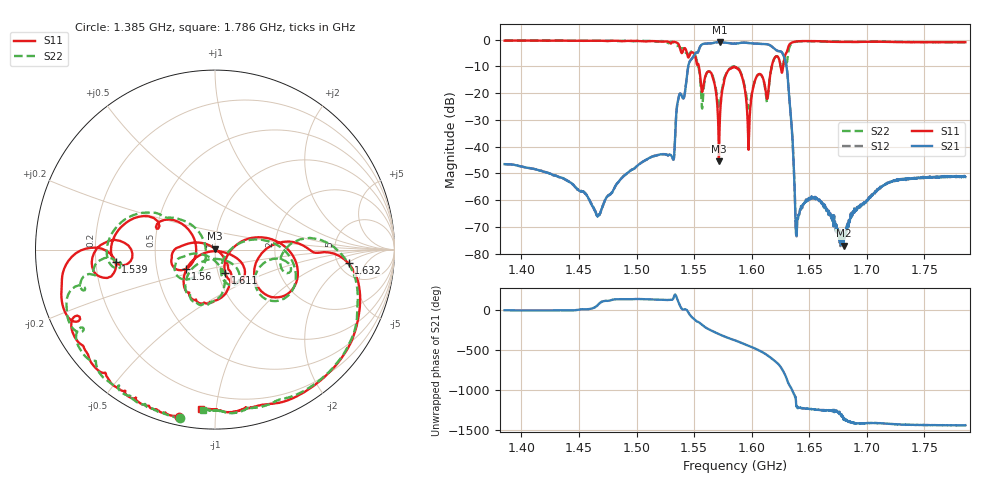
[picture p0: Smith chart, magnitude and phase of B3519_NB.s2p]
! Matrix data file written by TouchstoneData, EPCOS AG
! FILENAME: "newformat_B3519.NB.2.s2p"
! COMMENT: "(B3519.NB.2.s2p)"
! INFO: nport=2, nfreq=1601
! DATE: "Mon Sep  5 10:31:02 2011"
! USER: "Sergey Rostovtsev"
! port | pin | signal
!  1  |  2  |  in
!  2  |  5  |  out
# MHZ S MA R 50
! freq  magS11 angS11  magS21 angS21  magS12 angS12  magS22 angS22
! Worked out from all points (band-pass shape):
!   1601 points, 1.385 GHz to 1.786 GHz, reference 50 ohm
!   highest |S21| = -0.98 dB at 1.573 GHz (marker M1); lowest = -77.0 dB at 1.68 GHz (marker M2)
!   |S21| within 3 dB of the highest: 1.554 GHz to 1.621 GHz (67.28 MHz wide, 4.24 % of centre)
!   lowest |S11| = -45.5 dB at 1.571 GHz (marker M3), VSWR 1.01, Z = 50 + j0.528 ohm
!   |S11| at or under -10 dB: 1.554 GHz to 1.617 GHz (63.27 MHz wide, 3.99 % of centre); 1.625066 GHz to 1.627252 GHz (2.186 MHz wide, 0.134 % of centre)
!   |S22| runs from -25.8 to -0.3 dB; largest |S21 - S12| = 0.0015
!   S11 on the Smith chart (normalised r, x): 1.385 GHz: 0.04, -0.81; 1.539 GHz: 0.29, -0.06; 1.56 GHz: 0.70, -0.16; 1.611 GHz: 1.08, -0.29; 1.632 GHz: 6.18, -2.16; 1.786 GHz: 0.11, -0.91
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1385.5  0.9549 -102.0  0.004693 -6.0  0.004682 -6.3  0.9605 -101.6
1452.25  0.9458 -112.8  0.001455 6.9  0.001465 7.3  0.9519 -111.5
1467  0.9511 -116.3  0.0005163 69.7  0.000523 68.4  0.9507 -114.7
1519  0.917 -140.6  0.006985 128.1  0.00699 128.1  0.9223 -137.9
1531.25  0.8972 -154.5  0.006114 128.8  0.006079 129.0  0.9014 -155.9
1539.25  0.5576 -172.8  0.08852 13.2  0.08865 13.2  0.6862 -168.1
1550  0.5399 166.8  0.5062 -114.8  0.5063 -114.8  0.5668 167.9
1559.5  0.1964 -146.6  0.837 143.9  0.837 144.0  0.1869 -126.6
1571.5  0.00529 86.1  0.8927 57.6  0.8926 57.7  0.05173 -123.7
1572.5  0.03795 -33.8  0.8933 51.2  0.8932 51.2  0.06354 -89.7
1585.5  0.3028 -110.2  0.8438 -20.7  0.8439 -20.8  0.3108 -109.6
1597.25  0.008694 -87.5  0.861 -87.3  0.8614 -87.3  0.05205 -97.5
1604.25  0.203 -35.0  0.8381 -131.2  0.8379 -131.2  0.2016 -47.1
1611.25  0.1428 -66.2  0.8249 176.1  0.8249 176.1  0.1373 -75.4
1618  0.3558 6.5  0.7238 106.2  0.7241 106.3  0.353 3.6
1624.5  0.3704 -41.8  0.6031 21.4  0.6031 21.4  0.3746 -45.0
1632  0.7485 -5.9  0.1224 160.4  0.1224 160.5  0.6285 3.4
1639.5  0.9252 -38.5  0.0004526 -125.7  0.0004444 -128.3  0.9175 -36.6
1652.25  0.9364 -59.1  0.001106 -158.7  0.00108 -159.8  0.9291 -58.8
1679.75  0.9035 -76.0  0.0001408 83.9  0.0001601 86.3  0.9077 -75.5
1719  0.903 -87.0  0.002122 20.7  0.002127 20.8  0.9085 -86.2
1785.5  0.8899 -95.1  0.002698 2.2  0.0027 1.9  0.8959 -94.2
